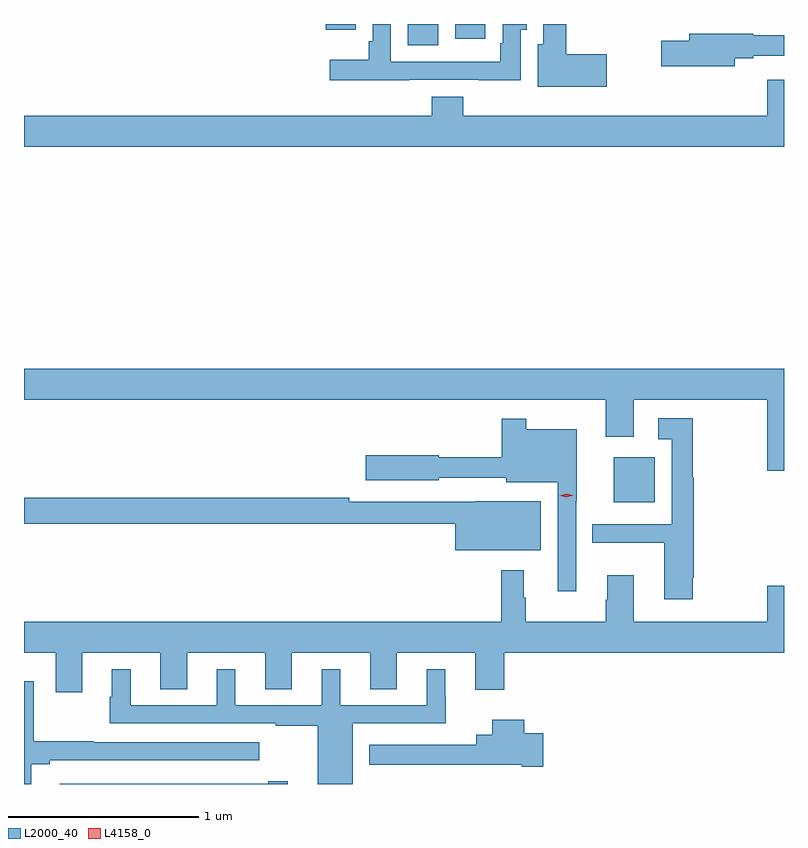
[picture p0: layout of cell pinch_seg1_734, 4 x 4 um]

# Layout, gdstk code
import gdstk
lib = gdstk.Library(unit=1e-6, precision=1e-09)
def R(c, l, rs):  # rectangles x0, y0, x1, y1
    for r in rs: c.add(gdstk.rectangle(r[:2], r[2:], *l))
def P(c, l, *ps):  # polygons
    for p in ps: c.add(gdstk.Polygon(p, *l))
L2000_40 = (2000, 40)
L4158_0 = (4158, 0)

pinch_seg1_734 = lib.new_cell('pinch_seg1_734')
R(pinch_seg1_734, L2000_40, [(871.49,524.552,871.708,524.791), (870.407,526.957,870.568,527.07), (870.656,526.992,870.814,527.07), (869.975,527.04,870.133,527.07)])
P(pinch_seg1_734, L2000_40, [(870.415,526.776),(870.781,526.776),(870.781,526.775),(871.002,526.775),(871.002,527.041),(871.033,527.041),(871.033,527.07),(870.906,527.07),(870.906,526.969),(870.894,526.969),(870.894,526.872),(870.318,526.872),(870.318,527.07),(870.222,527.07),(870.222,526.978),(870.202,526.978),(870.202,526.882),(869.997,526.882),(869.997,526.775),(870.415,526.775)],
  [(871.453,526.91),(871.24,526.91),(871.24,527.07),(871.121,527.07),(871.121,526.963),(871.091,526.963),(871.091,526.739),(871.453,526.739)],
  [(872.128,526.89),(872.224,526.89),(872.224,526.902),(872.387,526.902),(872.387,527.011),(872.224,527.011),(872.224,527.018),(871.889,527.018),(871.889,526.982),(871.74,526.982),(871.74,526.847),(872.128,526.847)],
  [(872.387,526.777),(872.3,526.777),(872.3,526.588),(870.698,526.588),(870.698,526.687),(870.533,526.687),(870.533,526.588),(868.387,526.588),(868.387,526.424),(872.387,526.424)],
  [(872.387,525.256),(868.387,525.256),(868.387,525.092),(871.448,525.092),(871.448,524.898),(871.597,524.898),(871.597,525.092),(872.3,525.092),(872.3,524.718),(872.387,524.718)],
  [(871.907,524.155),(871.913,524.155),(871.913,524.682),(871.906,524.682),(871.906,524.995),(871.725,524.995),(871.725,524.885),(871.797,524.885),(871.797,524.436),(871.378,524.436),(871.378,524.339),(871.757,524.339),(871.757,524.043),(871.907,524.043)],
  [(871.293,524.561),(871.295,524.561),(871.295,524.938),(871.03,524.938),(871.03,524.992),(870.901,524.992),(870.901,524.791),(870.57,524.791),(870.57,524.799),(870.186,524.799),(870.186,524.669),(870.57,524.669),(870.57,524.682),(870.924,524.682),(870.924,524.657),(871.197,524.657),(871.197,524.085),(871.293,524.085)],
  [(871.108,524.557),(870.76,524.557),(870.76,524.556),(870.098,524.556),(870.098,524.576),(868.387,524.576),(868.387,524.44),(870.656,524.44),(870.656,524.3),(871.108,524.3)],
  [(868.693,523.76),(869.105,523.76),(869.105,523.57),(869.245,523.57),(869.245,523.76),(869.657,523.76),(869.657,523.57),(869.797,523.57),(869.797,523.76),(870.209,523.76),(870.209,523.57),(870.349,523.57),(870.349,523.76),(870.761,523.76),(870.761,523.566),(870.914,523.566),(870.914,523.76),(872.387,523.76),(872.387,524.113),(872.3,524.113),(872.3,523.924),(871.597,523.924),(871.597,524.17),(871.457,524.17),(871.457,524.039),(871.45,524.039),(871.45,523.924),(871.027,523.924),(871.027,524.051),(871.016,524.051),(871.016,524.194),(870.898,524.194),(870.898,523.924),(868.387,523.924),(868.387,523.76),(868.553,523.76),(868.553,523.554),(868.693,523.554)],
  [(870.118,523.389),(870.606,523.389),(870.606,523.529),(870.604,523.529),(870.604,523.675),(870.506,523.675),(870.506,523.485),(870.052,523.485),(870.052,523.675),(869.954,523.675),(869.954,523.485),(869.5,523.485),(869.5,523.675),(869.402,523.675),(869.402,523.485),(868.948,523.485),(868.948,523.675),(868.85,523.675),(868.85,523.529),(868.839,523.529),(868.839,523.389),(869.713,523.389),(869.713,523.377),(869.933,523.377),(869.933,523.07),(870.118,523.07)],
  [(868.426,523.174),(868.522,523.174),(868.522,523.194),(869.626,523.194),(869.626,523.29),(868.754,523.29),(868.754,523.295),(868.438,523.295),(868.438,523.612),(868.387,523.612),(868.387,523.07),(868.426,523.07)],
  [(871.12,523.338),(871.019,523.338),(871.019,523.408),(870.851,523.408),(870.851,523.33),(870.767,523.33),(870.767,523.276),(870.203,523.276),(870.203,523.172),(871.007,523.172),(871.007,523.16),(871.12,523.16)],
  [(869.776,523.084),(869.672,523.084),(869.672,523.071),(868.574,523.071),(868.574,523.07),(869.776,523.07)])
P(pinch_seg1_734, L4158_0, [(871.243,524.578),(871.207,524.586),(871.207,524.587),(871.207,524.587),(871.242,524.598),(871.278,524.59),(871.278,524.59),(871.278,524.589)])

lib.write_gds('pinch_seg1_734.gds')
